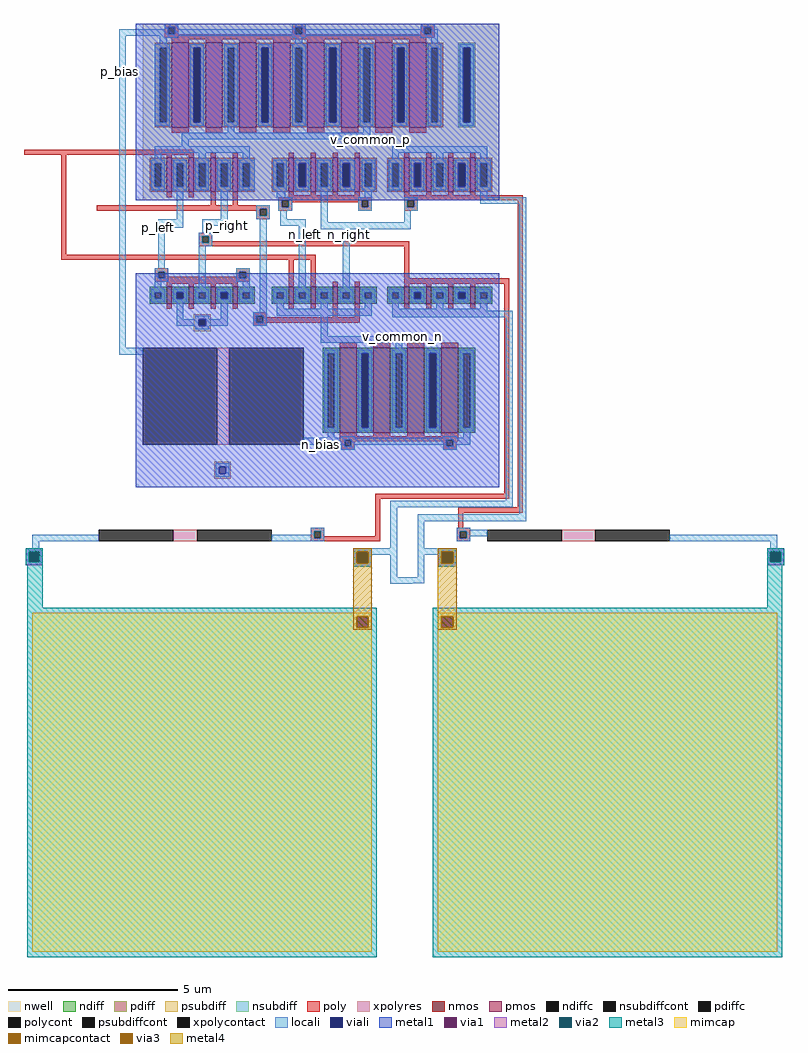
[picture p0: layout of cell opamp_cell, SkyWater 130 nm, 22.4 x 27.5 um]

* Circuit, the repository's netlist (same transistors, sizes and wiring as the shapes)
* NGSPICE file created from opamp_cell.ext - technology: sky130A

**.subckt opamp_cell
X0 w_8020_4460# p_bias p_bias w_8020_4460# sky130_fd_pr__pfet_01v8 ad=0.625 pd=3 as=1.25 ps=6 w=2.5 l=0.5
X1 w_8020_4460# n_left n_left w_8020_4460# sky130_fd_pr__pfet_01v8 ad=0.25 pd=1.5 as=0.5 ps=3 w=1 l=0.15
X2 v_common_n a_7320_4730# n_left a_8190_3850# sky130_fd_pr__nfet_01v8 ad=0.125 pd=1 as=0.125 ps=1 w=0.5 l=0.15
X3 w_8020_4460# p_bias v_common_p w_8020_4460# sky130_fd_pr__pfet_01v8 ad=0.625 pd=3 as=0.625 ps=3 w=2.5 l=0.5
X4 w_8020_4460# p_bias p_bias w_8020_4460# sky130_fd_pr__pfet_01v8 ad=0.625 pd=3 as=0.625 ps=3 w=2.5 l=0.5
X5 n_left a_7320_4730# v_common_n a_8190_3850# sky130_fd_pr__nfet_01v8 ad=0.125 pd=1 as=0.25 ps=2 w=0.5 l=0.15
X6 a_7760_2448# p_right a_8190_3850# sky130_fd_pr__res_xhigh_po_0p35 l=0.86
X7 a_9460_3850# n_right w_8020_4460# w_8020_4460# sky130_fd_pr__pfet_01v8 ad=0.25 pd=1.5 as=0.25 ps=1.5 w=1 l=0.15
X8 a_9460_3850# a_10686_2448# sky130_fd_pr__cap_mim_m3_1 l=10 w=10
X9 v_common_p a_7320_4730# p_left w_8020_4460# sky130_fd_pr__pfet_01v8 ad=0.25 pd=1.5 as=0.25 ps=1.5 w=1 l=0.15
X10 a_9460_3850# p_right a_8190_3850# a_8190_3850# sky130_fd_pr__nfet_01v8 ad=0.125 pd=1 as=0.125 ps=1 w=0.5 l=0.15
X11 w_8020_4460# n_right a_9460_3850# w_8020_4460# sky130_fd_pr__pfet_01v8 ad=0.25 pd=1.5 as=0.5 ps=3 w=1 l=0.15
X12 p_right p_left a_8190_3850# a_8190_3850# sky130_fd_pr__nfet_01v8 ad=0.125 pd=1 as=0.125 ps=1 w=0.5 l=0.15
X13 p_left a_7320_4730# v_common_p w_8020_4460# sky130_fd_pr__pfet_01v8 ad=0.25 pd=1.5 as=0.5 ps=3 w=1 l=0.15
X14 a_8190_3850# p_right a_9460_3850# a_8190_3850# sky130_fd_pr__nfet_01v8 ad=0.125 pd=1 as=0.25 ps=2 w=0.5 l=0.15
X15 a_8190_3850# p_left p_left a_8190_3850# sky130_fd_pr__nfet_01v8 ad=0.125 pd=1 as=0.25 ps=2 w=0.5 l=0.15
X16 w_8020_4460# p_bias v_common_p w_8020_4460# sky130_fd_pr__pfet_01v8 ad=0.625 pd=3 as=0.625 ps=3 w=2.5 l=0.5
X17 v_common_n n_bias a_8190_3850# a_8190_3850# sky130_fd_pr__nfet_01v8 ad=0.625 pd=3 as=0.625 ps=3 w=2.5 l=0.5
X18 n_bias n_bias a_8190_3850# a_8190_3850# sky130_fd_pr__nfet_01v8 ad=1.25 pd=6 as=0.625 ps=3 w=2.5 l=0.5
X19 v_common_p p_bias w_8020_4460# w_8020_4460# sky130_fd_pr__pfet_01v8 ad=0.625 pd=3 as=0.625 ps=3 w=2.5 l=0.5
X20 n_right a_10686_2448# a_8190_3850# sky130_fd_pr__res_xhigh_po_0p35 l=1.14
X21 p_bias p_bias w_8020_4460# w_8020_4460# sky130_fd_pr__pfet_01v8 ad=0.625 pd=3 as=0.625 ps=3 w=2.5 l=0.5
X22 a_9460_3850# n_right w_8020_4460# w_8020_4460# sky130_fd_pr__pfet_01v8 ad=0.5 pd=3 as=0.25 ps=1.5 w=1 l=0.15
X23 a_9460_3850# a_7760_2448# sky130_fd_pr__cap_mim_m3_1 l=10 w=10
X24 v_common_p a_7750_4400# p_right w_8020_4460# sky130_fd_pr__pfet_01v8 ad=0.5 pd=3 as=0.25 ps=1.5 w=1 l=0.15
X25 a_9460_3850# p_right a_8190_3850# a_8190_3850# sky130_fd_pr__nfet_01v8 ad=0.25 pd=2 as=0.125 ps=1 w=0.5 l=0.15
X26 n_left n_left w_8020_4460# w_8020_4460# sky130_fd_pr__pfet_01v8 ad=0.5 pd=3 as=0.25 ps=1.5 w=1 l=0.15
X27 w_8020_4460# n_right a_9460_3850# w_8020_4460# sky130_fd_pr__pfet_01v8 ad=0.25 pd=1.5 as=0.25 ps=1.5 w=1 l=0.15
X28 p_left p_left a_8190_3850# a_8190_3850# sky130_fd_pr__nfet_01v8 ad=0.25 pd=2 as=0.125 ps=1 w=0.5 l=0.15
X29 v_common_n a_7750_4400# n_right a_8190_3850# sky130_fd_pr__nfet_01v8 ad=0.25 pd=2 as=0.125 ps=1 w=0.5 l=0.15
X30 p_right a_7750_4400# v_common_p w_8020_4460# sky130_fd_pr__pfet_01v8 ad=0.25 pd=1.5 as=0.25 ps=1.5 w=1 l=0.15
X31 w_8020_4460# n_left n_right w_8020_4460# sky130_fd_pr__pfet_01v8 ad=0.25 pd=1.5 as=0.25 ps=1.5 w=1 l=0.15
X32 a_8190_3850# p_right a_9460_3850# a_8190_3850# sky130_fd_pr__nfet_01v8 ad=0.125 pd=1 as=0.125 ps=1 w=0.5 l=0.15
X33 a_8190_3850# p_left p_right a_8190_3850# sky130_fd_pr__nfet_01v8 ad=0.125 pd=1 as=0.125 ps=1 w=0.5 l=0.15
X34 n_right a_7750_4400# v_common_n a_8190_3850# sky130_fd_pr__nfet_01v8 ad=0.125 pd=1 as=0.125 ps=1 w=0.5 l=0.15
X35 p_bias n_bias a_8190_3850# sky130_fd_pr__res_xhigh_po_2p85 l=0.51
X36 v_common_p p_bias w_8020_4460# w_8020_4460# sky130_fd_pr__pfet_01v8 ad=0.625 pd=3 as=0.625 ps=3 w=2.5 l=0.5
X37 a_8190_3850# n_bias n_bias a_8190_3850# sky130_fd_pr__nfet_01v8 ad=0.625 pd=3 as=1.25 ps=6 w=2.5 l=0.5
X38 p_bias p_bias w_8020_4460# w_8020_4460# sky130_fd_pr__pfet_01v8 ad=1.25 pd=6 as=0.625 ps=3 w=2.5 l=0.5
X39 n_right n_left w_8020_4460# w_8020_4460# sky130_fd_pr__pfet_01v8 ad=0.25 pd=1.5 as=0.25 ps=1.5 w=1 l=0.15
X40 a_8190_3850# n_bias v_common_n a_8190_3850# sky130_fd_pr__nfet_01v8 ad=0.625 pd=3 as=0.625 ps=3 w=2.5 l=0.5
**.ends

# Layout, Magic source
magic
tech sky130A
<< nwell >>
rect 4010 2230 5060 2750
<< nmos >>
rect 4080 1925 4095 1975
rect 4145 1925 4160 1975
rect 4210 1925 4225 1975
rect 4275 1925 4290 1975
rect 4440 1925 4455 1975
rect 4505 1925 4520 1975
rect 4570 1925 4585 1975
rect 4635 1925 4650 1975
rect 4780 1925 4795 1975
rect 4845 1925 4860 1975
rect 4910 1925 4925 1975
rect 4975 1925 4990 1975
rect 4590 1545 4640 1795
rect 4690 1545 4740 1795
rect 4790 1545 4840 1795
rect 4890 1545 4940 1795
<< pmos >>
rect 4095 2445 4145 2695
rect 4195 2445 4245 2695
rect 4295 2445 4345 2695
rect 4395 2445 4445 2695
rect 4495 2445 4545 2695
rect 4595 2445 4645 2695
rect 4695 2445 4745 2695
rect 4795 2445 4845 2695
rect 4080 2255 4095 2355
rect 4145 2255 4160 2355
rect 4210 2255 4225 2355
rect 4275 2255 4290 2355
rect 4440 2255 4455 2355
rect 4505 2255 4520 2355
rect 4570 2255 4585 2355
rect 4635 2255 4650 2355
rect 4780 2255 4795 2355
rect 4845 2255 4860 2355
rect 4910 2255 4925 2355
rect 4975 2255 4990 2355
<< ndiff >>
rect 4030 1960 4080 1975
rect 4030 1940 4045 1960
rect 4065 1940 4080 1960
rect 4030 1925 4080 1940
rect 4095 1960 4145 1975
rect 4095 1940 4110 1960
rect 4130 1940 4145 1960
rect 4095 1925 4145 1940
rect 4160 1960 4210 1975
rect 4160 1940 4175 1960
rect 4195 1940 4210 1960
rect 4160 1925 4210 1940
rect 4225 1960 4275 1975
rect 4225 1940 4240 1960
rect 4260 1940 4275 1960
rect 4225 1925 4275 1940
rect 4290 1960 4340 1975
rect 4290 1940 4305 1960
rect 4325 1940 4340 1960
rect 4290 1925 4340 1940
rect 4390 1960 4440 1975
rect 4390 1940 4405 1960
rect 4425 1940 4440 1960
rect 4390 1925 4440 1940
rect 4455 1960 4505 1975
rect 4455 1940 4470 1960
rect 4490 1940 4505 1960
rect 4455 1925 4505 1940
rect 4520 1960 4570 1975
rect 4520 1940 4535 1960
rect 4555 1940 4570 1960
rect 4520 1925 4570 1940
rect 4585 1960 4635 1975
rect 4585 1940 4600 1960
rect 4620 1940 4635 1960
rect 4585 1925 4635 1940
rect 4650 1960 4700 1975
rect 4650 1940 4665 1960
rect 4685 1940 4700 1960
rect 4650 1925 4700 1940
rect 4730 1960 4780 1975
rect 4730 1940 4745 1960
rect 4765 1940 4780 1960
rect 4730 1925 4780 1940
rect 4795 1960 4845 1975
rect 4795 1940 4810 1960
rect 4830 1940 4845 1960
rect 4795 1925 4845 1940
rect 4860 1960 4910 1975
rect 4860 1940 4875 1960
rect 4895 1940 4910 1960
rect 4860 1925 4910 1940
rect 4925 1960 4975 1975
rect 4925 1940 4940 1960
rect 4960 1940 4975 1960
rect 4925 1925 4975 1940
rect 4990 1960 5040 1975
rect 4990 1940 5005 1960
rect 5025 1940 5040 1960
rect 4990 1925 5040 1940
rect 4540 1780 4590 1795
rect 4540 1560 4555 1780
rect 4575 1560 4590 1780
rect 4540 1545 4590 1560
rect 4640 1780 4690 1795
rect 4640 1560 4655 1780
rect 4675 1560 4690 1780
rect 4640 1545 4690 1560
rect 4740 1780 4790 1795
rect 4740 1560 4755 1780
rect 4775 1560 4790 1780
rect 4740 1545 4790 1560
rect 4840 1780 4890 1795
rect 4840 1560 4855 1780
rect 4875 1560 4890 1780
rect 4840 1545 4890 1560
rect 4940 1780 4990 1795
rect 4940 1560 4955 1780
rect 4975 1560 4990 1780
rect 4940 1545 4990 1560
<< pdiff >>
rect 4045 2680 4095 2695
rect 4045 2460 4060 2680
rect 4080 2460 4095 2680
rect 4045 2445 4095 2460
rect 4145 2680 4195 2695
rect 4145 2460 4160 2680
rect 4180 2460 4195 2680
rect 4145 2445 4195 2460
rect 4245 2680 4295 2695
rect 4245 2460 4260 2680
rect 4280 2460 4295 2680
rect 4245 2445 4295 2460
rect 4345 2680 4395 2695
rect 4345 2460 4360 2680
rect 4380 2460 4395 2680
rect 4345 2445 4395 2460
rect 4445 2680 4495 2695
rect 4445 2460 4460 2680
rect 4480 2460 4495 2680
rect 4445 2445 4495 2460
rect 4545 2680 4595 2695
rect 4545 2460 4560 2680
rect 4580 2460 4595 2680
rect 4545 2445 4595 2460
rect 4645 2680 4695 2695
rect 4645 2460 4660 2680
rect 4680 2460 4695 2680
rect 4645 2445 4695 2460
rect 4745 2680 4795 2695
rect 4745 2460 4760 2680
rect 4780 2460 4795 2680
rect 4745 2445 4795 2460
rect 4845 2680 4895 2695
rect 4845 2460 4860 2680
rect 4880 2460 4895 2680
rect 4845 2445 4895 2460
rect 4030 2340 4080 2355
rect 4030 2270 4045 2340
rect 4065 2270 4080 2340
rect 4030 2255 4080 2270
rect 4095 2340 4145 2355
rect 4095 2270 4110 2340
rect 4130 2270 4145 2340
rect 4095 2255 4145 2270
rect 4160 2340 4210 2355
rect 4160 2270 4175 2340
rect 4195 2270 4210 2340
rect 4160 2255 4210 2270
rect 4225 2340 4275 2355
rect 4225 2270 4240 2340
rect 4260 2270 4275 2340
rect 4225 2255 4275 2270
rect 4290 2340 4340 2355
rect 4290 2270 4305 2340
rect 4325 2270 4340 2340
rect 4290 2255 4340 2270
rect 4390 2340 4440 2355
rect 4390 2270 4405 2340
rect 4425 2270 4440 2340
rect 4390 2255 4440 2270
rect 4455 2340 4505 2355
rect 4455 2270 4470 2340
rect 4490 2270 4505 2340
rect 4455 2255 4505 2270
rect 4520 2340 4570 2355
rect 4520 2270 4535 2340
rect 4555 2270 4570 2340
rect 4520 2255 4570 2270
rect 4585 2340 4635 2355
rect 4585 2270 4600 2340
rect 4620 2270 4635 2340
rect 4585 2255 4635 2270
rect 4650 2340 4700 2355
rect 4650 2270 4665 2340
rect 4685 2270 4700 2340
rect 4650 2255 4700 2270
rect 4730 2340 4780 2355
rect 4730 2270 4745 2340
rect 4765 2270 4780 2340
rect 4730 2255 4780 2270
rect 4795 2340 4845 2355
rect 4795 2270 4810 2340
rect 4830 2270 4845 2340
rect 4795 2255 4845 2270
rect 4860 2340 4910 2355
rect 4860 2270 4875 2340
rect 4895 2270 4910 2340
rect 4860 2255 4910 2270
rect 4925 2340 4975 2355
rect 4925 2270 4940 2340
rect 4960 2270 4975 2340
rect 4925 2255 4975 2270
rect 4990 2340 5040 2355
rect 4990 2270 5005 2340
rect 5025 2270 5040 2340
rect 4990 2255 5040 2270
<< ndiffc >>
rect 4045 1940 4065 1960
rect 4110 1940 4130 1960
rect 4175 1940 4195 1960
rect 4240 1940 4260 1960
rect 4305 1940 4325 1960
rect 4405 1940 4425 1960
rect 4470 1940 4490 1960
rect 4535 1940 4555 1960
rect 4600 1940 4620 1960
rect 4665 1940 4685 1960
rect 4745 1940 4765 1960
rect 4810 1940 4830 1960
rect 4875 1940 4895 1960
rect 4940 1940 4960 1960
rect 5005 1940 5025 1960
rect 4555 1560 4575 1780
rect 4655 1560 4675 1780
rect 4755 1560 4775 1780
rect 4855 1560 4875 1780
rect 4955 1560 4975 1780
<< pdiffc >>
rect 4060 2460 4080 2680
rect 4160 2460 4180 2680
rect 4260 2460 4280 2680
rect 4360 2460 4380 2680
rect 4460 2460 4480 2680
rect 4560 2460 4580 2680
rect 4660 2460 4680 2680
rect 4760 2460 4780 2680
rect 4860 2460 4880 2680
rect 4045 2270 4065 2340
rect 4110 2270 4130 2340
rect 4175 2270 4195 2340
rect 4240 2270 4260 2340
rect 4305 2270 4325 2340
rect 4405 2270 4425 2340
rect 4470 2270 4490 2340
rect 4535 2270 4555 2340
rect 4600 2270 4620 2340
rect 4665 2270 4685 2340
rect 4745 2270 4765 2340
rect 4810 2270 4830 2340
rect 4875 2270 4895 2340
rect 4940 2270 4960 2340
rect 5005 2270 5025 2340
<< psubdiff >>
rect 4160 1880 4210 1895
rect 4160 1860 4175 1880
rect 4195 1860 4210 1880
rect 4160 1845 4210 1860
rect 4220 1410 4270 1460
<< nsubdiff >>
rect 4940 2680 4990 2695
rect 4940 2460 4955 2680
rect 4975 2460 4990 2680
rect 4940 2445 4990 2460
<< psubdiffcont >>
rect 4175 1860 4195 1880
<< nsubdiffcont >>
rect 4955 2460 4975 2680
<< poly >>
rect 4075 2740 4115 2750
rect 4075 2720 4085 2740
rect 4105 2720 4115 2740
rect 4450 2740 4490 2750
rect 4450 2720 4460 2740
rect 4480 2720 4490 2740
rect 4830 2740 4870 2750
rect 4830 2720 4840 2740
rect 4860 2720 4870 2740
rect 4075 2710 4870 2720
rect 4095 2705 4845 2710
rect 4095 2695 4145 2705
rect 4195 2695 4245 2705
rect 4295 2695 4345 2705
rect 4395 2695 4445 2705
rect 4495 2695 4545 2705
rect 4595 2695 4645 2705
rect 4695 2695 4745 2705
rect 4795 2695 4845 2705
rect 4095 2430 4145 2445
rect 4195 2430 4245 2445
rect 4295 2430 4345 2445
rect 4395 2430 4445 2445
rect 4495 2430 4545 2445
rect 4595 2430 4645 2445
rect 4695 2430 4745 2445
rect 4795 2430 4845 2445
rect 3660 2365 4160 2380
rect 3770 2070 3785 2365
rect 4080 2355 4095 2365
rect 4145 2355 4160 2365
rect 4210 2355 4225 2370
rect 4275 2355 4290 2370
rect 4440 2355 4455 2370
rect 4505 2355 4520 2370
rect 4570 2355 4585 2370
rect 4635 2355 4650 2370
rect 4780 2355 4795 2370
rect 4845 2355 4860 2370
rect 4910 2355 4925 2370
rect 4975 2355 4990 2370
rect 4080 2240 4095 2255
rect 4145 2240 4160 2255
rect 4210 2215 4225 2255
rect 4275 2215 4290 2255
rect 4440 2245 4455 2255
rect 4505 2245 4520 2255
rect 4570 2245 4585 2255
rect 4635 2245 4650 2255
rect 4440 2240 4650 2245
rect 4780 2245 4795 2255
rect 4845 2245 4860 2255
rect 4910 2245 4925 2255
rect 4975 2245 4990 2255
rect 4410 2230 4685 2240
rect 3875 2205 4385 2215
rect 3875 2200 4355 2205
rect 4345 2185 4355 2200
rect 4375 2185 4385 2205
rect 4410 2210 4420 2230
rect 4440 2225 4655 2230
rect 4440 2210 4450 2225
rect 4410 2200 4450 2210
rect 4645 2210 4655 2225
rect 4675 2210 4685 2230
rect 4645 2200 4685 2210
rect 4780 2230 5130 2245
rect 4780 2210 4790 2230
rect 4810 2210 4820 2230
rect 4780 2200 4820 2210
rect 4345 2175 4385 2185
rect 4175 2125 4215 2135
rect 4175 2105 4185 2125
rect 4205 2110 4215 2125
rect 4205 2105 4795 2110
rect 4175 2095 4795 2105
rect 3770 2055 4520 2070
rect 4045 2020 4085 2030
rect 4045 2000 4055 2020
rect 4075 2005 4085 2020
rect 4285 2020 4325 2030
rect 4285 2005 4295 2020
rect 4075 2000 4295 2005
rect 4315 2000 4325 2020
rect 4045 1990 4325 2000
rect 4080 1985 4290 1990
rect 4080 1975 4095 1985
rect 4145 1975 4160 1985
rect 4210 1975 4225 1985
rect 4275 1975 4290 1985
rect 4440 1975 4455 2055
rect 4505 1975 4520 2055
rect 4780 2000 4795 2095
rect 4570 1975 4585 1990
rect 4635 1975 4650 1990
rect 4780 1985 5090 2000
rect 4780 1975 4795 1985
rect 4845 1975 4860 1985
rect 4910 1975 4925 1985
rect 4975 1975 4990 1985
rect 4080 1910 4095 1925
rect 4145 1910 4160 1925
rect 4210 1910 4225 1925
rect 4275 1910 4290 1925
rect 4440 1910 4455 1925
rect 4505 1910 4520 1925
rect 4335 1890 4375 1900
rect 4335 1870 4345 1890
rect 4365 1885 4375 1890
rect 4570 1885 4585 1925
rect 4635 1885 4650 1925
rect 4780 1910 4795 1925
rect 4845 1910 4860 1925
rect 4910 1910 4925 1925
rect 4975 1910 4990 1925
rect 4365 1870 4650 1885
rect 4335 1860 4375 1870
rect 4590 1795 4640 1810
rect 4690 1795 4740 1810
rect 4790 1795 4840 1810
rect 4890 1795 4940 1810
rect 4590 1535 4640 1545
rect 4690 1535 4740 1545
rect 4790 1535 4840 1545
rect 4890 1535 4940 1545
rect 4590 1525 4940 1535
rect 4590 1520 4605 1525
rect 4595 1505 4605 1520
rect 4625 1520 4905 1525
rect 4625 1505 4635 1520
rect 4595 1495 4635 1505
rect 4895 1505 4905 1520
rect 4925 1520 4940 1525
rect 4925 1505 4935 1520
rect 4895 1495 4935 1505
rect 5075 1365 5090 1985
rect 4695 1350 5090 1365
rect 4505 1255 4545 1265
rect 4505 1235 4515 1255
rect 4535 1240 4545 1255
rect 4695 1240 4710 1350
rect 5115 1325 5130 2230
rect 4940 1310 5130 1325
rect 4940 1265 4955 1310
rect 4535 1235 4710 1240
rect 4505 1225 4710 1235
rect 4935 1255 4975 1265
rect 4935 1235 4945 1255
rect 4965 1235 4975 1255
rect 4935 1225 4975 1235
<< polycont >>
rect 4085 2720 4105 2740
rect 4460 2720 4480 2740
rect 4840 2720 4860 2740
rect 4355 2185 4375 2205
rect 4420 2210 4440 2230
rect 4655 2210 4675 2230
rect 4790 2210 4810 2230
rect 4185 2105 4205 2125
rect 4055 2000 4075 2020
rect 4295 2000 4315 2020
rect 4345 1870 4365 1890
rect 4605 1505 4625 1525
rect 4905 1505 4925 1525
rect 4515 1235 4535 1255
rect 4945 1235 4965 1255
<< xpolycontact >>
rect 4010 1510 4230 1795
rect 4265 1510 4485 1795
rect 3880 1225 4100 1260
rect 4170 1225 4390 1260
rect 5025 1225 5245 1260
rect 5343 1225 5563 1260
<< xpolyres >>
rect 4230 1510 4265 1795
rect 4100 1225 4170 1260
rect 5245 1225 5343 1260
<< locali >>
rect 4075 2740 4115 2750
rect 4075 2735 4085 2740
rect 3940 2720 4085 2735
rect 4105 2735 4115 2740
rect 4450 2740 4490 2750
rect 4450 2735 4460 2740
rect 4105 2720 4460 2735
rect 4480 2735 4490 2740
rect 4830 2740 4870 2750
rect 4830 2735 4840 2740
rect 4480 2720 4840 2735
rect 4860 2735 4870 2740
rect 4860 2720 4880 2735
rect 3940 2715 4880 2720
rect 3940 1795 3960 2715
rect 4060 2710 4115 2715
rect 4450 2710 4490 2715
rect 4830 2710 4880 2715
rect 4060 2690 4080 2710
rect 4460 2690 4480 2710
rect 4860 2690 4880 2710
rect 4045 2680 4090 2690
rect 4045 2460 4060 2680
rect 4080 2460 4090 2680
rect 4045 2450 4090 2460
rect 4150 2680 4190 2690
rect 4150 2460 4160 2680
rect 4180 2460 4190 2680
rect 4150 2450 4190 2460
rect 4250 2680 4290 2690
rect 4250 2460 4260 2680
rect 4280 2460 4290 2680
rect 4250 2450 4290 2460
rect 4350 2680 4390 2690
rect 4350 2460 4360 2680
rect 4380 2460 4390 2680
rect 4350 2450 4390 2460
rect 4450 2680 4490 2690
rect 4450 2460 4460 2680
rect 4480 2460 4490 2680
rect 4450 2450 4490 2460
rect 4550 2680 4590 2690
rect 4550 2460 4560 2680
rect 4580 2460 4590 2680
rect 4550 2450 4590 2460
rect 4650 2680 4690 2690
rect 4650 2460 4660 2680
rect 4680 2460 4690 2680
rect 4650 2450 4690 2460
rect 4750 2680 4790 2690
rect 4750 2460 4760 2680
rect 4780 2460 4790 2680
rect 4750 2450 4790 2460
rect 4850 2680 4890 2690
rect 4850 2460 4860 2680
rect 4880 2460 4890 2680
rect 4850 2450 4890 2460
rect 4945 2680 4985 2690
rect 4945 2460 4955 2680
rect 4975 2460 4985 2680
rect 4945 2450 4985 2460
rect 4260 2430 4280 2450
rect 4660 2430 4680 2450
rect 4125 2410 4680 2430
rect 4125 2390 4145 2410
rect 4045 2370 4325 2390
rect 4045 2350 4065 2370
rect 4175 2350 4195 2370
rect 4305 2350 4325 2370
rect 4745 2370 5025 2390
rect 4745 2350 4765 2370
rect 4875 2350 4895 2370
rect 5005 2350 5025 2370
rect 4035 2340 4075 2350
rect 4035 2270 4045 2340
rect 4065 2270 4075 2340
rect 4035 2260 4075 2270
rect 4100 2340 4140 2350
rect 4100 2270 4110 2340
rect 4130 2270 4140 2340
rect 4100 2260 4140 2270
rect 4165 2340 4205 2350
rect 4165 2270 4175 2340
rect 4195 2270 4205 2340
rect 4165 2260 4205 2270
rect 4230 2340 4270 2350
rect 4230 2270 4240 2340
rect 4260 2270 4270 2340
rect 4230 2260 4270 2270
rect 4295 2340 4340 2350
rect 4295 2270 4305 2340
rect 4325 2270 4340 2340
rect 4295 2260 4340 2270
rect 4395 2340 4435 2350
rect 4395 2270 4405 2340
rect 4425 2270 4435 2340
rect 4395 2260 4435 2270
rect 4460 2340 4500 2350
rect 4460 2270 4470 2340
rect 4490 2270 4500 2340
rect 4460 2260 4500 2270
rect 4525 2340 4565 2350
rect 4525 2270 4535 2340
rect 4555 2270 4565 2340
rect 4525 2260 4565 2270
rect 4590 2340 4635 2350
rect 4590 2270 4600 2340
rect 4620 2270 4635 2340
rect 4590 2260 4635 2270
rect 4655 2340 4695 2350
rect 4655 2270 4665 2340
rect 4685 2270 4695 2340
rect 4655 2260 4695 2270
rect 4735 2340 4775 2350
rect 4735 2270 4745 2340
rect 4765 2270 4775 2340
rect 4735 2260 4775 2270
rect 4800 2340 4840 2350
rect 4800 2270 4810 2340
rect 4830 2270 4840 2340
rect 4800 2260 4840 2270
rect 4865 2340 4905 2350
rect 4865 2270 4875 2340
rect 4895 2270 4905 2340
rect 4865 2260 4905 2270
rect 4930 2340 4970 2350
rect 4930 2270 4940 2340
rect 4960 2270 4970 2340
rect 4930 2260 4970 2270
rect 4995 2340 5035 2350
rect 4995 2270 5005 2340
rect 5025 2270 5035 2340
rect 4995 2260 5035 2270
rect 4110 2175 4130 2260
rect 4240 2175 4260 2260
rect 4405 2240 4430 2260
rect 4410 2230 4450 2240
rect 4345 2205 4385 2215
rect 4345 2185 4355 2205
rect 4375 2185 4385 2205
rect 4410 2210 4420 2230
rect 4440 2210 4450 2230
rect 4410 2200 4450 2210
rect 4345 2175 4385 2185
rect 4415 2175 4435 2200
rect 4055 2150 4130 2175
rect 4185 2155 4260 2175
rect 4055 2030 4075 2150
rect 4185 2135 4205 2155
rect 4175 2125 4215 2135
rect 4175 2105 4185 2125
rect 4205 2105 4215 2125
rect 4175 2095 4215 2105
rect 4045 2020 4085 2030
rect 4045 2000 4055 2020
rect 4075 2000 4085 2020
rect 4045 1990 4085 2000
rect 4045 1970 4065 1990
rect 4175 1970 4195 2095
rect 4285 2020 4325 2030
rect 4285 2000 4295 2020
rect 4315 2000 4325 2020
rect 4285 1990 4325 2000
rect 4305 1970 4325 1990
rect 4035 1960 4075 1970
rect 4035 1940 4045 1960
rect 4065 1940 4075 1960
rect 4035 1930 4075 1940
rect 4100 1960 4140 1970
rect 4100 1940 4110 1960
rect 4130 1940 4140 1960
rect 4100 1930 4140 1940
rect 4165 1960 4205 1970
rect 4165 1940 4175 1960
rect 4195 1940 4205 1960
rect 4165 1930 4205 1940
rect 4230 1960 4270 1970
rect 4230 1940 4240 1960
rect 4260 1940 4270 1960
rect 4230 1930 4270 1940
rect 4295 1960 4335 1970
rect 4295 1940 4305 1960
rect 4325 1940 4335 1960
rect 4295 1930 4335 1940
rect 4110 1880 4130 1930
rect 4165 1880 4205 1890
rect 4240 1880 4260 1930
rect 4355 1900 4375 2175
rect 4415 2155 4490 2175
rect 4470 1970 4490 2155
rect 4535 2165 4555 2260
rect 4665 2240 4685 2260
rect 5005 2240 5025 2260
rect 4645 2230 4685 2240
rect 4645 2210 4655 2230
rect 4675 2210 4685 2230
rect 4645 2200 4685 2210
rect 4780 2230 4820 2240
rect 4780 2210 4790 2230
rect 4810 2210 4820 2230
rect 5005 2220 5140 2240
rect 4780 2200 4820 2210
rect 4780 2165 4800 2200
rect 4535 2145 4800 2165
rect 4600 1970 4620 2145
rect 4395 1960 4435 1970
rect 4395 1940 4405 1960
rect 4425 1940 4435 1960
rect 4395 1930 4435 1940
rect 4460 1960 4500 1970
rect 4460 1940 4470 1960
rect 4490 1940 4500 1960
rect 4460 1930 4500 1940
rect 4525 1960 4565 1970
rect 4525 1940 4535 1960
rect 4555 1940 4565 1960
rect 4525 1930 4565 1940
rect 4590 1960 4630 1970
rect 4590 1940 4600 1960
rect 4620 1940 4630 1960
rect 4590 1930 4630 1940
rect 4655 1960 4695 1970
rect 4655 1940 4665 1960
rect 4685 1940 4695 1960
rect 4655 1930 4695 1940
rect 4735 1960 4775 1970
rect 4735 1940 4745 1960
rect 4765 1940 4775 1960
rect 4735 1930 4775 1940
rect 4800 1960 4840 1970
rect 4800 1940 4810 1960
rect 4830 1940 4840 1960
rect 4800 1930 4840 1940
rect 4865 1960 4905 1970
rect 4865 1940 4875 1960
rect 4895 1940 4905 1960
rect 4865 1930 4905 1940
rect 4930 1960 4970 1970
rect 4930 1940 4940 1960
rect 4960 1940 4970 1960
rect 4930 1930 4970 1940
rect 4995 1960 5035 1970
rect 4995 1940 5005 1960
rect 5025 1940 5035 1960
rect 4995 1930 5035 1940
rect 4110 1860 4175 1880
rect 4195 1860 4260 1880
rect 4335 1890 4375 1900
rect 4405 1910 4425 1930
rect 4535 1910 4555 1930
rect 4665 1910 4685 1930
rect 4405 1890 4685 1910
rect 4745 1910 4765 1930
rect 4875 1910 4895 1930
rect 5005 1910 5025 1930
rect 4745 1905 5025 1910
rect 4335 1870 4345 1890
rect 4365 1870 4375 1890
rect 4335 1860 4375 1870
rect 4165 1850 4205 1860
rect 4535 1830 4555 1890
rect 4745 1885 5100 1905
rect 4535 1810 4775 1830
rect 3940 1775 4010 1795
rect 4755 1790 4775 1810
rect 4545 1780 4585 1790
rect 4545 1560 4555 1780
rect 4575 1560 4585 1780
rect 4545 1550 4585 1560
rect 4645 1780 4685 1790
rect 4645 1560 4655 1780
rect 4675 1560 4685 1780
rect 4645 1550 4685 1560
rect 4745 1780 4785 1790
rect 4745 1560 4755 1780
rect 4775 1560 4785 1780
rect 4745 1550 4785 1560
rect 4845 1780 4885 1790
rect 4845 1560 4855 1780
rect 4875 1560 4885 1780
rect 4845 1550 4885 1560
rect 4945 1780 4985 1790
rect 4945 1560 4955 1780
rect 4975 1560 4985 1780
rect 4945 1550 4985 1560
rect 4555 1530 4575 1550
rect 4595 1530 4635 1535
rect 4895 1530 4935 1535
rect 4955 1530 4975 1550
rect 4485 1525 4975 1530
rect 4485 1510 4605 1525
rect 4595 1505 4605 1510
rect 4625 1510 4905 1525
rect 4625 1505 4635 1510
rect 4595 1495 4635 1505
rect 4895 1505 4905 1510
rect 4925 1510 4975 1525
rect 4925 1505 4935 1510
rect 4895 1495 4935 1505
rect 4225 1445 4265 1455
rect 4225 1425 4235 1445
rect 4255 1425 4265 1445
rect 4225 1415 4265 1425
rect 5080 1345 5100 1885
rect 4740 1325 5100 1345
rect 3685 1225 3880 1245
rect 4505 1255 4545 1265
rect 4505 1245 4515 1255
rect 4390 1235 4515 1245
rect 4535 1235 4545 1255
rect 4390 1225 4545 1235
rect 3685 1205 3705 1225
rect 4740 1205 4760 1325
rect 5120 1305 5140 2220
rect 3665 1195 3715 1205
rect 3665 1165 3675 1195
rect 3705 1165 3715 1195
rect 3665 1155 3715 1165
rect 4630 1195 4760 1205
rect 4630 1160 4640 1195
rect 4675 1185 4760 1195
rect 4675 1160 4685 1185
rect 4630 1150 4685 1160
rect 4740 1120 4760 1185
rect 4820 1285 5140 1305
rect 4820 1205 4840 1285
rect 4935 1260 4975 1265
rect 4935 1255 5025 1260
rect 4935 1235 4945 1255
rect 4965 1240 5025 1255
rect 4965 1235 4975 1240
rect 4935 1225 4975 1235
rect 5563 1225 5880 1245
rect 5860 1205 5880 1225
rect 4820 1195 4935 1205
rect 4820 1185 4890 1195
rect 4820 1120 4840 1185
rect 4880 1160 4890 1185
rect 4925 1160 4935 1195
rect 4880 1150 4935 1160
rect 5850 1195 5900 1205
rect 5850 1165 5860 1195
rect 5890 1165 5900 1195
rect 5850 1155 5900 1165
rect 4740 1101 4840 1120
rect 4740 1100 4805 1101
<< viali >>
rect 4160 2460 4180 2680
rect 4360 2460 4380 2680
rect 4560 2460 4580 2680
rect 4760 2460 4780 2680
rect 4955 2460 4975 2680
rect 4470 2270 4490 2340
rect 4600 2270 4620 2340
rect 4810 2270 4830 2340
rect 4940 2270 4960 2340
rect 4110 1940 4130 1960
rect 4240 1940 4260 1960
rect 4810 1940 4830 1960
rect 4940 1940 4960 1960
rect 4175 1860 4195 1880
rect 4655 1560 4675 1780
rect 4855 1560 4875 1780
rect 4235 1425 4255 1445
rect 3675 1165 3705 1195
rect 4640 1160 4675 1195
rect 4890 1160 4925 1195
rect 5860 1165 5890 1195
<< metal1 >>
rect 3990 2680 5060 2750
rect 3990 2460 4160 2680
rect 4180 2460 4360 2680
rect 4380 2460 4560 2680
rect 4580 2460 4760 2680
rect 4780 2460 4955 2680
rect 4975 2460 5060 2680
rect 3990 2340 5060 2460
rect 3990 2270 4470 2340
rect 4490 2270 4600 2340
rect 4620 2270 4810 2340
rect 4830 2270 4940 2340
rect 4960 2270 5060 2340
rect 3990 2230 5060 2270
rect 3990 1960 5060 2015
rect 3990 1940 4110 1960
rect 4130 1940 4240 1960
rect 4260 1940 4810 1960
rect 4830 1940 4940 1960
rect 4960 1940 5060 1960
rect 3990 1880 5060 1940
rect 3990 1860 4175 1880
rect 4195 1860 5060 1880
rect 3990 1780 5060 1860
rect 3990 1560 4655 1780
rect 4675 1560 4855 1780
rect 4875 1560 5060 1780
rect 3990 1445 5060 1560
rect 3990 1425 4235 1445
rect 4255 1425 5060 1445
rect 3990 1385 5060 1425
rect 3665 1195 3715 1205
rect 3665 1165 3675 1195
rect 3705 1165 3715 1195
rect 3665 1155 3715 1165
rect 4630 1195 4685 1205
rect 4630 1160 4640 1195
rect 4675 1160 4685 1195
rect 4630 1150 4685 1160
rect 4880 1195 4935 1205
rect 4880 1160 4890 1195
rect 4925 1160 4935 1195
rect 4880 1150 4935 1160
rect 5850 1195 5900 1205
rect 5850 1165 5860 1195
rect 5890 1165 5900 1195
rect 5850 1155 5900 1165
<< via1 >>
rect 3675 1165 3705 1195
rect 4640 1160 4675 1195
rect 4890 1160 4925 1195
rect 5860 1165 5890 1195
<< metal2 >>
rect 3665 1195 3715 1205
rect 3665 1165 3675 1195
rect 3705 1165 3715 1195
rect 3665 1155 3715 1165
rect 4630 1195 4685 1205
rect 4630 1160 4640 1195
rect 4675 1160 4685 1195
rect 4630 1150 4685 1160
rect 4880 1195 4935 1205
rect 4880 1160 4890 1195
rect 4925 1160 4935 1195
rect 4880 1150 4935 1160
rect 5850 1195 5900 1205
rect 5850 1165 5860 1195
rect 5890 1165 5900 1195
rect 5850 1155 5900 1165
<< via2 >>
rect 3675 1165 3705 1195
rect 4640 1160 4675 1195
rect 4890 1160 4925 1195
rect 5860 1165 5890 1195
<< metal3 >>
rect 3665 1195 3715 1205
rect 3665 1165 3675 1195
rect 3705 1165 3715 1195
rect 3665 1155 3715 1165
rect 3670 1030 3715 1155
rect 4630 1195 4685 1205
rect 4630 1160 4640 1195
rect 4675 1160 4685 1195
rect 4630 1150 4685 1160
rect 4880 1195 4935 1205
rect 4880 1160 4890 1195
rect 4925 1160 4935 1195
rect 4880 1150 4935 1160
rect 5850 1195 5900 1205
rect 5850 1165 5860 1195
rect 5890 1165 5900 1195
rect 5850 1155 5900 1165
rect 5850 1030 5895 1155
rect 3670 0 4700 1030
rect 4865 0 5895 1030
<< via3 >>
rect 4640 1160 4675 1195
rect 4890 1160 4925 1195
<< mimcap >>
rect 3685 1005 4685 1015
rect 3685 970 4640 1005
rect 4675 970 4685 1005
rect 3685 15 4685 970
rect 4880 1005 5880 1015
rect 4880 970 4890 1005
rect 4925 970 5880 1005
rect 4880 15 5880 970
<< mimcapcontact >>
rect 4640 970 4675 1005
rect 4890 970 4925 1005
<< metal4 >>
rect 4630 1195 4685 1205
rect 4630 1160 4640 1195
rect 4675 1160 4685 1195
rect 4630 1005 4685 1160
rect 4630 970 4640 1005
rect 4675 970 4685 1005
rect 4630 965 4685 970
rect 4880 1195 4935 1205
rect 4880 1160 4890 1195
rect 4925 1160 4935 1195
rect 4880 1005 4935 1160
rect 4880 970 4890 1005
rect 4925 970 4935 1005
rect 4880 965 4935 970
<< labels >>
flabel locali 4775 1830 4775 1830 2 FreeSans 400 0 0 0 v_common_n
flabel locali 4680 2410 4680 2410 4 FreeSans 400 0 0 0 v_common_p
flabel locali 4490 2130 4490 2130 3 FreeSans 160 0 80 0 n_left
flabel locali 4620 2130 4620 2130 3 FreeSans 160 0 80 0 n_right
flabel locali 4260 2155 4260 2155 3 FreeSans 160 0 80 0 p_right
flabel locali 4055 2150 4055 2150 7 FreeSans 160 0 -80 0 p_left
flabel locali 4535 1510 4535 1510 5 FreeSans 160 0 0 -80 n_bias
flabel locali 3940 2610 3940 2610 7 FreeSans 160 0 -80 0 p_bias
<< end >>
